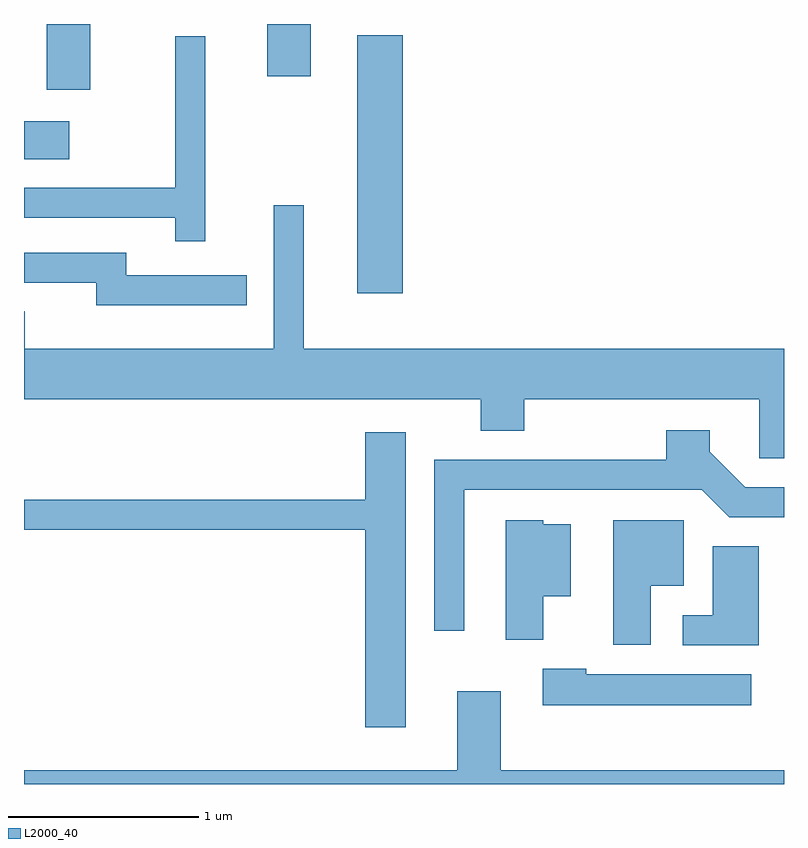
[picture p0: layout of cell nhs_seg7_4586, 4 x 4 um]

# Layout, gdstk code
import gdstk
lib = gdstk.Library(unit=1e-6, precision=1e-09)
def R(c, l, rs):  # rectangles x0, y0, x1, y1
    for r in rs: c.add(gdstk.rectangle(r[:2], r[2:], *l))
def P(c, l, *ps):  # polygons
    for p in ps: c.add(gdstk.Polygon(p, *l))
L2000_40 = (2000, 40)

nhs_seg7_4586 = lib.new_cell('nhs_seg7_4586')
R(nhs_seg7_4586, L2000_40, [(327.366,1754.836,327.604,1756.194), (325.611,1755.541,325.849,1755.739), (325.731,1755.906,325.959,1756.252), (326.891,1755.976,327.119,1756.252)])
P(nhs_seg7_4586, L2000_40, [(326.564,1756.188),(326.406,1756.188),(326.406,1755.389),(325.611,1755.389),(325.611,1755.231),(326.406,1755.231),(326.406,1755.108),(326.564,1755.108)],
  [(329.611,1754.544),(327.084,1754.544),(327.084,1755.298),(326.926,1755.298),(326.926,1754.544),(325.614,1754.544),(325.614,1754.739),(325.611,1754.739),(325.611,1754.276),(328.016,1754.276),(328.016,1754.111),(328.244,1754.111),(328.244,1754.276),(329.481,1754.276),(329.481,1753.966),(329.611,1753.966)],
  [(326.783,1754.929),(326.149,1754.929),(326.149,1755.049),(325.611,1755.049),(325.611,1754.891),(325.991,1754.891),(325.991,1754.771),(326.783,1754.771)],
  [(327.929,1753.801),(329.179,1753.801),(329.324,1753.656),(329.611,1753.656),(329.611,1753.814),(329.407,1753.814),(329.219,1754.002),(329.219,1754.114),(328.991,1754.114),(328.991,1753.959),(327.771,1753.959),(327.771,1753.058),(327.929,1753.058)],
  [(327.619,1754.104),(327.406,1754.104),(327.406,1753.749),(325.611,1753.749),(325.611,1753.591),(327.406,1753.591),(327.406,1752.551),(327.619,1752.551)],
  [(328.344,1753.241),(328.489,1753.241),(328.489,1753.619),(328.344,1753.619),(328.344,1753.639),(328.146,1753.639),(328.146,1753.011),(328.344,1753.011)],
  [(328.909,1753.296),(329.084,1753.296),(329.084,1753.639),(328.711,1753.639),(328.711,1752.986),(328.909,1752.986)],
  [(329.479,1753.504),(329.236,1753.504),(329.236,1753.139),(329.078,1753.139),(329.078,1752.981),(329.479,1752.981)],
  [(329.438,1752.829),(328.569,1752.829),(328.569,1752.859),(328.341,1752.859),(328.341,1752.666),(329.438,1752.666)],
  [(329.611,1752.324),(328.119,1752.324),(328.119,1752.739),(327.891,1752.739),(327.891,1752.324),(325.611,1752.324),(325.611,1752.252),(329.611,1752.252)])

lib.write_gds('nhs_seg7_4586.gds')
